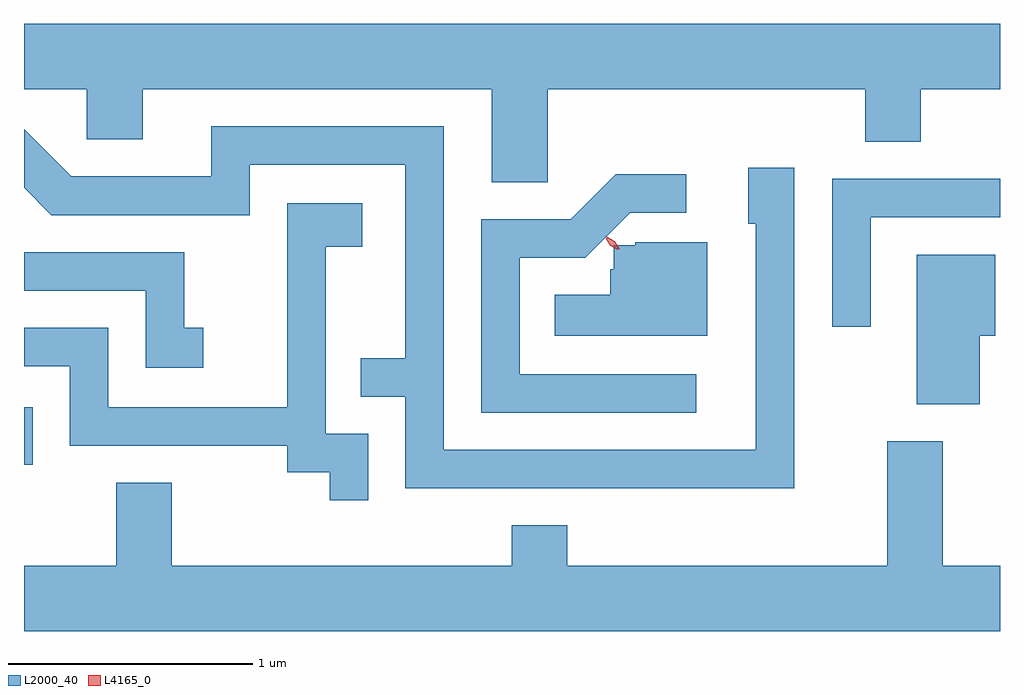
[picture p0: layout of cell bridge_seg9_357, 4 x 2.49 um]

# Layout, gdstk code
import gdstk
lib = gdstk.Library(unit=1e-6, precision=1e-09)
def R(c, l, rs):  # rectangles x0, y0, x1, y1
    for r in rs: c.add(gdstk.rectangle(r[:2], r[2:], *l))
def P(c, l, *ps):  # polygons
    for p in ps: c.add(gdstk.Polygon(p, *l))
L2000_40 = (2000, 40)
L4165_0 = (4165, 0)

bridge_seg9_357 = lib.new_cell('bridge_seg9_357')
R(bridge_seg9_357, L2000_40, [(979.703,1985.838,979.739,1986.074)])
P(bridge_seg9_357, L2000_40, [(981.849,1987.376),(983.151,1987.376),(983.151,1987.161),(983.379,1987.161),(983.379,1987.376),(983.703,1987.376),(983.703,1987.644),(979.703,1987.644),(979.703,1987.376),(979.961,1987.376),(979.961,1987.171),(980.189,1987.171),(980.189,1987.376),(981.621,1987.376),(981.621,1986.996),(981.849,1986.996)],
  [(982.859,1987.054),(982.671,1987.054),(982.671,1986.826),(982.701,1986.826),(982.701,1985.899),(981.424,1985.899),(981.424,1987.224),(980.471,1987.224),(980.471,1987.019),(979.897,1987.019),(979.703,1987.213),(979.703,1986.972),(979.814,1986.861),(980.629,1986.861),(980.629,1987.066),(981.266,1987.066),(981.266,1986.274),(981.083,1986.274),(981.083,1986.116),(981.266,1986.116),(981.266,1985.741),(982.859,1985.741)],
  [(982.458,1986.209),(981.734,1986.209),(981.734,1986.686),(982.003,1986.686),(982.188,1986.871),(982.418,1986.871),(982.418,1987.029),(982.129,1987.029),(981.944,1986.844),(981.576,1986.844),(981.576,1986.051),(982.458,1986.051)],
  [(983.174,1986.851),(983.703,1986.851),(983.703,1987.009),(983.016,1987.009),(983.016,1986.403),(983.174,1986.403)],
  [(981.114,1985.964),(980.939,1985.964),(980.939,1986.731),(981.089,1986.731),(981.089,1986.909),(980.781,1986.909),(980.781,1986.074),(980.049,1986.074),(980.049,1986.399),(979.703,1986.399),(979.703,1986.241),(979.891,1986.241),(979.891,1985.916),(980.781,1985.916),(980.781,1985.806),(980.956,1985.806),(980.956,1985.693),(981.114,1985.693)],
  [(982.504,1986.749),(982.209,1986.749),(982.209,1986.738),(982.119,1986.738),(982.119,1986.639),(982.106,1986.639),(982.106,1986.534),(981.878,1986.534),(981.878,1986.366),(982.504,1986.366)],
  [(980.438,1986.399),(980.359,1986.399),(980.359,1986.709),(979.703,1986.709),(979.703,1986.551),(980.201,1986.551),(980.201,1986.236),(980.438,1986.236)],
  [(983.619,1986.366),(983.684,1986.366),(983.684,1986.699),(983.361,1986.699),(983.361,1986.086),(983.619,1986.086)],
  [(983.703,1985.424),(983.469,1985.424),(983.469,1985.934),(983.241,1985.934),(983.241,1985.424),(981.929,1985.424),(981.929,1985.589),(981.701,1985.589),(981.701,1985.424),(980.309,1985.424),(980.309,1985.764),(980.081,1985.764),(980.081,1985.424),(979.703,1985.424),(979.703,1985.156),(983.703,1985.156)])
P(bridge_seg9_357, L4165_0, [(982.143,1986.72),(982.11,1986.739),(982.09,1986.771),(982.09,1986.772),(982.091,1986.772),(982.124,1986.753),(982.144,1986.721),(982.144,1986.72)],
  [(982.136,1986.719),(982.105,1986.735),(982.088,1986.765),(982.088,1986.766),(982.089,1986.766),(982.12,1986.75),(982.137,1986.72),(982.137,1986.719)])

lib.write_gds('bridge_seg9_357.gds')
